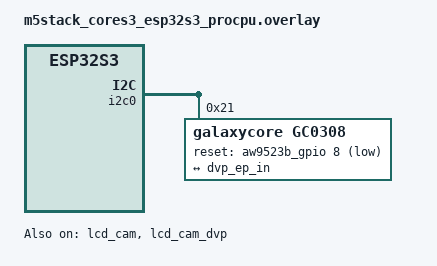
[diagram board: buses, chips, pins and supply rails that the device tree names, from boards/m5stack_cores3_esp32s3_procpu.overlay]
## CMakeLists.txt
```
cmake_minimum_required(VERSION 3.20.0)

list(APPEND DTS_ROOT ${CMAKE_CURRENT_SOURCE_DIR})

find_package(Zephyr REQUIRED HINTS $ENV{ZEPHYR_BASE})
project(camera_connect)

target_include_directories(app PRIVATE
    ${ZEPHYR_BASE}/drivers/video
    ${CMAKE_CURRENT_SOURCE_DIR}/drivers/video
)

target_sources(app PRIVATE
    src/main.c
    drivers/video/gc0308.c
)
```

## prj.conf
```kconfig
CONFIG_LOG=y
CONFIG_LOG_DEFAULT_LEVEL=3
CONFIG_CONSOLE=y
CONFIG_UART_CONSOLE=y
CONFIG_SERIAL=y
CONFIG_GPIO=y
CONFIG_I2C=y
CONFIG_REGULATOR=y

# Video Subsystem
CONFIG_VIDEO=y
CONFIG_VIDEO_LOG_LEVEL_DBG=y
CONFIG_VIDEO_INIT_PRIORITY=90

# DMA and ESP32 LCD-CAM DVP
CONFIG_DMA=y
CONFIG_DMA_ESP32=y

# Main thread stack size
CONFIG_MAIN_STACK_SIZE=4096
```

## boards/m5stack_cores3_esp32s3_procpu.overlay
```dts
/*
 * Copyright (c) 2026
 * SPDX-License-Identifier: Apache-2.0
 */

#include <zephyr/dt-bindings/pinctrl/esp32s3-pinctrl.h>

/ {
	chosen {
		zephyr,camera = &lcd_cam_dvp;
	};
};

&pinctrl {
	lcd_cam_default: lcd_cam_default {
		group1 {
			pinmux = <LCD_CAM_V_SYNC_CAM_GPIO46>,
				 <LCD_CAM_H_ENABLE_CAM_GPIO38>,
				 <LCD_CAM_CAM_PCLK_GPIO45>,
				 <LCD_CAM_DATA_IN0_GPIO39>,
				 <LCD_CAM_DATA_IN1_GPIO40>,
				 <LCD_CAM_DATA_IN2_GPIO41>,
				 <LCD_CAM_DATA_IN3_GPIO42>,
				 <LCD_CAM_DATA_IN4_GPIO15>,
				 <LCD_CAM_DATA_IN5_GPIO16>,
				 <LCD_CAM_DATA_IN6_GPIO48>,
				 <LCD_CAM_DATA_IN7_GPIO47>;
			input-enable;
			bias-disable;
		};
	};
};

&i2c0 {
	gc0308: gc0308@21 {
		compatible = "galaxycore,gc0308";
		reg = <0x21>;
		status = "okay";
		reset-gpios = <&aw9523b_gpio 8 GPIO_ACTIVE_LOW>;

		port {
			gc0308_ep_out: endpoint {
				remote-endpoint = <&dvp_ep_in>;
			};
		};
	};
};

&avdd {
	regulator-boot-on;
	regulator-always-on;
};

&dvdd {
	regulator-boot-on;
	regulator-always-on;
};

&dma {
	status = "okay";
};

&lcd_cam {
	status = "okay";
	pinctrl-0 = <&lcd_cam_default>;
	pinctrl-names = "default";
};

&lcd_cam_dvp {
	status = "okay";
	cam-clk = <20000000>;
	source = <&gc0308>;

	port {
		dvp_ep_in: endpoint {
			remote-endpoint = <&gc0308_ep_out>;
		};
	};
};
```

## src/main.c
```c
/*
 * Copyright (c) 2026
 * SPDX-License-Identifier: Apache-2.0
 */

#include <zephyr/kernel.h>
#include <zephyr/device.h>
#include <zephyr/drivers/i2c.h>
#include <zephyr/drivers/gpio.h>
#include <zephyr/drivers/video.h>
#include <zephyr/logging/log.h>

LOG_MODULE_REGISTER(main, LOG_LEVEL_INF);

#define GC0308_NODE       DT_NODELABEL(gc0308)
#define LCD_CAM_DVP_NODE  DT_NODELABEL(lcd_cam_dvp)
#define I2C0_NODE         DT_NODELABEL(i2c0)

#define GC0308_I2C_ADDR   0x21
#define GC0308_REG_PID    0x00
#define GC0308_EXPECTED_PID 0x9b

int main(void)
{
	int ret;
	uint8_t chip_id = 0;

	LOG_INF("==============================================");
	LOG_INF(" M5Stack CoreS3 Camera Connection Test App   ");
	LOG_INF("==============================================");

	/* 1. Check I2C bus device */
	const struct device *i2c_dev = DEVICE_DT_GET(I2C0_NODE);
	if (!device_is_ready(i2c_dev)) {
		LOG_ERR("I2C0 controller is not ready!");
		return -1;
	}
	LOG_INF("I2C0 controller is ready.");

	/* 2. Direct I2C Probe for GC0308 Chip ID */
	LOG_INF("Probing GC0308 on I2C address 0x%02x...", GC0308_I2C_ADDR);
	uint8_t reg_addr = GC0308_REG_PID;
	ret = i2c_write_read(i2c_dev, GC0308_I2C_ADDR, &reg_addr, 1, &chip_id, 1);
	if (ret == 0) {
		LOG_INF(">>> Direct I2C Read Success: Reg[0x%02x] = 0x%02x", reg_addr, chip_id);
		if (chip_id == GC0308_EXPECTED_PID) {
			LOG_INF(">>> MATCH! GC0308 Image Sensor confirmed (PID: 0x%02x)!", chip_id);
		} else {
			LOG_WRN(">>> PID Mismatch! Expected 0x%02x, got 0x%02x",
				GC0308_EXPECTED_PID, chip_id);
		}
	} else {
		LOG_ERR("Direct I2C Read failed with error code: %d", ret);
	}

	/* 3. Check Zephyr Video Sensor Driver Device */
#if DT_NODE_HAS_STATUS_OKAY(GC0308_NODE)
	const struct device *cam_sensor_dev = DEVICE_DT_GET(GC0308_NODE);
	if (device_is_ready(cam_sensor_dev)) {
		LOG_INF("GC0308 Video Device is ready: %s", cam_sensor_dev->name);

		struct video_format fmt = {0};
		ret = video_get_format(cam_sensor_dev, &fmt);
		if (ret == 0) {
			char fourcc[5] = {
				(char)(fmt.pixelformat & 0xff),
				(char)((fmt.pixelformat >> 8) & 0xff),
				(char)((fmt.pixelformat >> 16) & 0xff),
				(char)((fmt.pixelformat >> 24) & 0xff),
				'\0'
			};
			LOG_INF("Current Camera Format: %ux%u (FourCC: %s)",
				fmt.width, fmt.height, fourcc);
		}
	} else {
		LOG_ERR("GC0308 Video Device is NOT ready!");
	}
#endif

	/* 4. Check Zephyr DVP Controller Device */
#if DT_NODE_HAS_STATUS_OKAY(LCD_CAM_DVP_NODE)
	const struct device *dvp_dev = DEVICE_DT_GET(LCD_CAM_DVP_NODE);
	if (device_is_ready(dvp_dev)) {
		LOG_INF("ESP32-S3 LCD_CAM DVP Interface is ready: %s", dvp_dev->name);
	} else {
		LOG_ERR("ESP32-S3 LCD_CAM DVP Interface is NOT ready!");
	}
#endif

	LOG_INF("Camera probe and verification sequence completed.");
	while (1) {
		k_sleep(K_SECONDS(2));
	}

	return 0;
}
```
